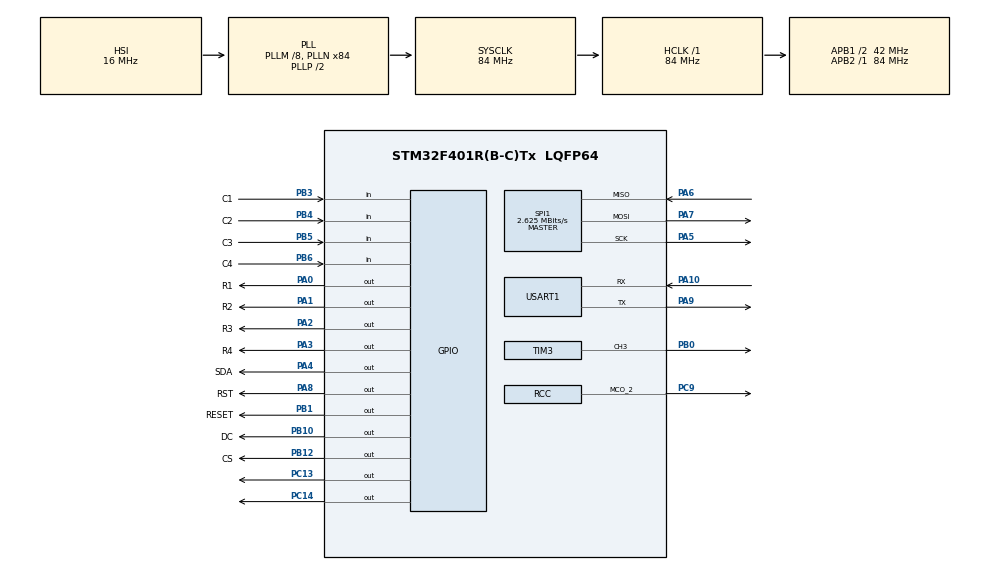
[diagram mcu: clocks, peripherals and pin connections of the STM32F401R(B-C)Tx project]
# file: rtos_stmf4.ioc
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FREERTOS.Tasks01=defaultTask,0,128,StartDefaultTask,Default,NULL,Dynamic,NULL,NULL
Mcu.Family=STM32F4
Mcu.Name=STM32F401R(B-C)Tx
Mcu.Package=LQFP64
NVIC.PriorityGroup=NVIC_PRIORITYGROUP_4
NVIC.TIM4_IRQn=true\:15\:0\:false\:false\:true\:false\:false\:true\:true
NVIC.TimeBase=TIM4_IRQn
NVIC.TimeBaseIP=TIM4
PA0-WKUP.GPIO_Label=R1
PA0-WKUP.Signal=GPIO_Output
PA1.GPIO_Label=R2
PA1.Signal=GPIO_Output
PA10.Mode=Asynchronous
PA10.Signal=USART1_RX
PA13.Mode=Serial_Wire
PA13.Signal=SYS_JTMS-SWDIO
PA14.Mode=Serial_Wire
PA14.Signal=SYS_JTCK-SWCLK
PA2.GPIO_Label=R3
PA2.Signal=GPIO_Output
PA3.GPIO_Label=R4
PA3.Signal=GPIO_Output
PA4.GPIO_Label=SDA
PA4.Signal=GPIO_Output
PA5.Mode=Full_Duplex_Master
PA5.Signal=SPI1_SCK
PA6.Mode=Full_Duplex_Master
PA6.Signal=SPI1_MISO
PA7.Mode=Full_Duplex_Master
PA7.Signal=SPI1_MOSI
PA8.GPIO_Label=RST
PA8.GPIO_PuPd=GPIO_PULLUP
PA8.Signal=GPIO_Output
PA9.Mode=Asynchronous
PA9.Signal=USART1_TX
PB0.Signal=S_TIM3_CH3
PB1.GPIO_Label=RESET
PB1.Signal=GPIO_Output
PB10.GPIO_Label=DC
PB10.Signal=GPIO_Output
PB12.GPIO_Label=CS
PB12.GPIO_PuPd=GPIO_PULLUP
PB12.Signal=GPIO_Output
PB3.GPIO_Label=C1
PB3.GPIO_PuPd=GPIO_PULLUP
PB3.Signal=GPIO_Input
PB4.GPIO_Label=C2
PB4.GPIO_PuPd=GPIO_PULLUP
PB4.Signal=GPIO_Input
PB5.GPIO_Label=C3
PB5.GPIO_PuPd=GPIO_PULLUP
PB5.Signal=GPIO_Input
PB6.GPIO_Label=C4
PB6.GPIO_PuPd=GPIO_PULLUP
PB6.Signal=GPIO_Input
PC13-ANTI_TAMP.Signal=GPIO_Output
PC14-OSC32_IN.Signal=GPIO_Output
PC9.Mode=Clock-out-2
PC9.Signal=RCC_MCO_2
PH0\ -\ OSC_IN.Mode=HSE-External-Oscillator
PH0\ -\ OSC_IN.Signal=RCC_OSC_IN
PH1\ -\ OSC_OUT.Mode=HSE-External-Oscillator
PH1\ -\ OSC_OUT.Signal=RCC_OSC_OUT
ProjectManager.HeapSize=0x200
ProjectManager.StackSize=0x400
ProjectManager.TargetToolchain=STM32CubeIDE
RCC.48MHZClocksFreq_Value=42000000
RCC.AHBFreq_Value=84000000
RCC.APB1CLKDivider=RCC_HCLK_DIV2
RCC.APB1Freq_Value=42000000
RCC.APB1TimFreq_Value=84000000
RCC.APB2Freq_Value=84000000
RCC.APB2TimFreq_Value=84000000
RCC.CortexFreq_Value=84000000
RCC.HCLKFreq_Value=84000000
RCC.HSE_VALUE=25000000
RCC.HSI_VALUE=16000000
RCC.LSE_VALUE=32768
RCC.PLLM=8
RCC.PLLN=84
RCC.SYSCLKFreq_VALUE=84000000
RCC.SYSCLKSource=RCC_SYSCLKSOURCE_PLLCLK
RCC.VCOOutputFreq_Value=168000000
SH.S_TIM3_CH3.0=TIM3_CH3,PWM Generation3 CH3
SPI1.BaudRatePrescaler=SPI_BAUDRATEPRESCALER_32
SPI1.CalculateBaudRate=2.625 MBits/s
SPI1.Direction=SPI_DIRECTION_2LINES
SPI1.Mode=SPI_MODE_MASTER
SPI1.VirtualType=VM_MASTER
TIM3.Channel-PWM\ Generation3\ CH3=TIM_CHANNEL_3
TIM3.Period=19999
TIM3.Prescaler=83
USART1.VirtualMode=VM_ASYNC
VP_FREERTOS_VS_CMSIS_V1.Mode=CMSIS_V1
VP_SYS_VS_tim4.Mode=TIM4
VP_TIM3_VS_ClockSourceINT.Mode=Internal
board=custom

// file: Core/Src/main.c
/* USER CODE BEGIN Header */
/**
 ******************************************************************************
 * @file           : main.c
 * @brief          : Main program body
 ******************************************************************************
 * @attention
 *
 * Copyright (c) 2026 STMicroelectronics.
 * All rights reserved.
 *
 * This software is licensed under terms that can be found in the LICENSE file
 * in the root directory of this software component.
 * If no LICENSE file comes with this software, it is provided AS-IS.
 *
 ******************************************************************************
 */
/* USER CODE END Header */
#include "main.h"
#include "cmsis_os.h"

/* USER CODE BEGIN Includes */
#include "rc522.h"
#include "tft_ili9341.h"
#include "font.h"
#include "stdio.h"
#include "string.h"
/* USER CODE END Includes */

/* USER CODE BEGIN PTD */
#define FLASH_USER_START_ADDR  0x08020000
/* USER CODE END PTD */

SPI_HandleTypeDef hspi1;

TIM_HandleTypeDef htim3;

UART_HandleTypeDef huart1;

osThreadId defaultTaskHandle;
/* USER CODE BEGIN PV */
uint8_t uid[5];
uint8_t status;

#define MAX_CARDS 10
uint8_t card_list[MAX_CARDS][4];
uint8_t card_count = 0;

char buffer[50];

char password[5] = "1234";
char input_pass[5];

typedef enum {
	ACTION_NONE = 0,
	ACTION_SCAN,
	ACTION_PASSWORD,
	ACTION_ADD,
	ACTION_DELETE,
	ACTION_CHANGE_PASS
} Action_t;

typedef struct MenuItem {
	char *name;
	struct MenuItem *parent;
	struct MenuItem *child;
	struct MenuItem *next;
	Action_t action;
} MenuItem;

MenuItem *current_menu;
MenuItem *selected_item;

// ROOT
MenuItem menu_root = { "MỞ KHÓA CỬA RFID", NULL, NULL, NULL, ACTION_NONE };

// LEVEL 1
MenuItem menu_scan = { "QUẸT THẺ", &menu_root, NULL, NULL, ACTION_SCAN };
MenuItem menu_pass =
		{ "NHẬP MẬT KHẨU", &menu_root, NULL, NULL, ACTION_PASSWORD };
MenuItem menu_setting = { "CÀI ĐẶT", &menu_root, NULL, NULL, ACTION_NONE };

// LEVEL 2 (SETTING)
MenuItem menu_add = { "THÊM THẺ", &menu_setting, NULL, NULL, ACTION_ADD };
MenuItem menu_delete = { "XÓA THẺ", &menu_setting, NULL, NULL, ACTION_DELETE };
MenuItem menu_change = { "ĐỔI MẬT KHẨU", &menu_setting, NULL, NULL,
		ACTION_CHANGE_PASS };

char keypad_map[4][4] = { { '1', '4', '7', '*' }, { '2', '5', '8', '0' }, { '3',
		'6', '9', '#' }, { 'A', 'B', 'C', 'D' } };

uint8_t door_open = 0;
uint32_t door_time = 0;

Action_t current_action = ACTION_NONE;

typedef struct {
	uint8_t count;
	uint8_t cards[MAX_CARDS][4];
	char password[5];
} FlashData;

FlashData flash_data;

osMutexId spiMutex;

/* USER CODE END PV */

void SystemClock_Config(void);
static void MX_GPIO_Init(void);
static void MX_SPI1_Init(void);
static void MX_TIM3_Init(void);
static void MX_USART1_UART_Init(void);
void StartDefaultTask(void const * argument);

/* USER CODE BEGIN PFP */
void TFT_DrawMenu(void);
void Keypad_Task(void const *argument);
osThreadId keypadTaskHandle;
void RFID_Task(void const *argument);
uint8_t CheckPassword(void);

void Send_Event(char *event, char *method, uint8_t *uid);

void Flash_Write(void);
void Flash_Read(void);

void Send_All_Cards(void);

osThreadId rfidTaskHandle;
/* USER CODE END PFP */

/* USER CODE BEGIN 0 */
char Keypad_Scan(void) {
	uint16_t row_pins[4] = { R1_Pin, R2_Pin, R3_Pin, R4_Pin };
	uint16_t col_pins[4] = { C1_Pin, C2_Pin, C3_Pin, C4_Pin };

	for (int i = 0; i < 4; i++) {
		// set all row HIGH
		HAL_GPIO_WritePin(GPIOA, R1_Pin | R2_Pin | R3_Pin | R4_Pin,
				GPIO_PIN_SET);

		// kéo từng row xuống LOW
		HAL_GPIO_WritePin(GPIOA, row_pins[i], GPIO_PIN_RESET);

		for (int j = 0; j < 4; j++) {
			if (HAL_GPIO_ReadPin(GPIOB, col_pins[j]) == GPIO_PIN_RESET) {
				return keypad_map[i][j];
			}
		}
	}

	return 0;
}

char Keypad_GetKey(void) {
	char key = Keypad_Scan();

	if (key) {
		osDelay(150);
		while (Keypad_Scan())
			;
		return key;
	}

	return 0;
}

uint8_t compare_uid(uint8_t *a, uint8_t *b) {
	for (int i = 0; i < 4; i++) {
		if (a[i] != b[i])
			return 0;
	}
	return 1;
}

int find_card(uint8_t *uid) {
	for (int i = 0; i < card_count; i++) {
		if (compare_uid(uid, card_list[i])) {
			return i;
		}
	}
	return -1;
}

void add_card(uint8_t *uid) {
	if (card_count >= MAX_CARDS)
		return;

	if (find_card(uid) == -1) {
		memcpy(card_list[card_count], uid, 4);
		card_count++;
	}
}

void delete_card(uint8_t *uid) {
	int index = find_card(uid);

	if (index == -1)
		return;

	for (int i = index; i < card_count - 1; i++) {
		memcpy(card_list[i], card_list[i + 1], 4);
	}

	card_count--;
}

void Servo_SetAngle(uint8_t angle) {
	uint16_t pulse = 500 + (angle * 2000) / 180;
	__HAL_TIM_SET_COMPARE(&htim3, TIM_CHANNEL_3, pulse);
}

/* USER CODE END 0 */

int main(void)
{

  /* MCU Configuration--------------------------------------------------------*/

  /* Reset of all peripherals, Initializes the Flash interface and the Systick. */
  HAL_Init();

  /* Configure the system clock */
  SystemClock_Config();

  /* Initialize all configured peripherals */
  MX_GPIO_Init();
  MX_SPI1_Init();
  MX_TIM3_Init();
  MX_USART1_UART_Init();
  /* USER CODE BEGIN 2 */
	menu_root.child = &menu_scan;

	menu_scan.next = &menu_pass;
	menu_pass.next = &menu_setting;

	menu_setting.child = &menu_add;
	menu_add.next = &menu_delete;
	menu_delete.next = &menu_change;

	// default
	current_menu = &menu_root;
	selected_item = menu_root.child;
	HAL_TIM_PWM_Start(&htim3, TIM_CHANNEL_3);
	RC522_Init();
	HAL_Delay(100);

	TFT_Init(&hspi1);
	TFT_FillScreen(BLACK);
	Flash_Read();
	HAL_Delay(500);   // (để ESP kịp boot)
	Send_All_Cards();

	TFT_DrawMenu();

  /* USER CODE END 2 */

  /* USER CODE BEGIN RTOS_MUTEX */
	/* add mutexes, ... */
	osMutexDef(spiMutex);
	spiMutex = osMutexCreate(osMutex(spiMutex));
  /* USER CODE END RTOS_MUTEX */

  /* Create the thread(s) */
  /* definition and creation of defaultTask */
  osThreadDef(defaultTask, StartDefaultTask, osPriorityNormal, 0, 128);
  defaultTaskHandle = osThreadCreate(osThread(defaultTask), NULL);

  /* USER CODE BEGIN RTOS_THREADS */
	osThreadDef(keypadTask, Keypad_Task, osPriorityLow, 0, 256);
	keypadTaskHandle = osThreadCreate(osThread(keypadTask), NULL);

	osThreadDef(rfidTask, RFID_Task, osPriorityNormal, 0, 256);
	rfidTaskHandle = osThreadCreate(osThread(rfidTask), NULL);
	/* add threads, ... */
  /* USER CODE END RTOS_THREADS */

  /* Start scheduler */
  osKernelStart();

  /* We should never get here as control is now taken by the scheduler */

  /* Infinite loop */
	while (1) {

	}
}

void SystemClock_Config(void)
{
  RCC_OscInitTypeDef RCC_OscInitStruct = {0};
  RCC_ClkInitTypeDef RCC_ClkInitStruct = {0};

  /** Configure the main internal regulator output voltage
  */
  __HAL_RCC_PWR_CLK_ENABLE();
  __HAL_PWR_VOLTAGESCALING_CONFIG(PWR_REGULATOR_VOLTAGE_SCALE2);

  /** Initializes the RCC Oscillators according to the specified parameters
  * in the RCC_OscInitTypeDef structure.
  */
  RCC_OscInitStruct.OscillatorType = RCC_OSCILLATORTYPE_HSI;
  RCC_OscInitStruct.HSIState = RCC_HSI_ON;
  RCC_OscInitStruct.HSICalibrationValue = RCC_HSICALIBRATION_DEFAULT;
  RCC_OscInitStruct.PLL.PLLState = RCC_PLL_ON;
  RCC_OscInitStruct.PLL.PLLSource = RCC_PLLSOURCE_HSI;
  RCC_OscInitStruct.PLL.PLLM = 8;
  RCC_OscInitStruct.PLL.PLLN = 84;
  RCC_OscInitStruct.PLL.PLLP = RCC_PLLP_DIV2;
  RCC_OscInitStruct.PLL.PLLQ = 4;
  if (HAL_RCC_OscConfig(&RCC_OscInitStruct) != HAL_OK)
  {
    Error_Handler();
  }

  /** Initializes the CPU, AHB and APB buses clocks
  */
  RCC_ClkInitStruct.ClockType = RCC_CLOCKTYPE_HCLK|RCC_CLOCKTYPE_SYSCLK
                              |RCC_CLOCKTYPE_PCLK1|RCC_CLOCKTYPE_PCLK2;
  RCC_ClkInitStruct.SYSCLKSource = RCC_SYSCLKSOURCE_PLLCLK;
  RCC_ClkInitStruct.AHBCLKDivider = RCC_SYSCLK_DIV1;
  RCC_ClkInitStruct.APB1CLKDivider = RCC_HCLK_DIV2;
  RCC_ClkInitStruct.APB2CLKDivider = RCC_HCLK_DIV1;

  if (HAL_RCC_ClockConfig(&RCC_ClkInitStruct, FLASH_LATENCY_2) != HAL_OK)
  {
    Error_Handler();
  }
  HAL_RCC_MCOConfig(RCC_MCO2, RCC_MCO2SOURCE_SYSCLK, RCC_MCODIV_1);
}

static void MX_SPI1_Init(void)
{

  /* SPI1 parameter configuration*/
  hspi1.Instance = SPI1;
  hspi1.Init.Mode = SPI_MODE_MASTER;
  hspi1.Init.Direction = SPI_DIRECTION_2LINES;
  hspi1.Init.DataSize = SPI_DATASIZE_8BIT;
  hspi1.Init.CLKPolarity = SPI_POLARITY_LOW;
  hspi1.Init.CLKPhase = SPI_PHASE_1EDGE;
  hspi1.Init.NSS = SPI_NSS_SOFT;
  hspi1.Init.BaudRatePrescaler = SPI_BAUDRATEPRESCALER_32;
  hspi1.Init.FirstBit = SPI_FIRSTBIT_MSB;
  hspi1.Init.TIMode = SPI_TIMODE_DISABLE;
  hspi1.Init.CRCCalculation = SPI_CRCCALCULATION_DISABLE;
  hspi1.Init.CRCPolynomial = 10;
  if (HAL_SPI_Init(&hspi1) != HAL_OK)
  {
    Error_Handler();
  }

}

static void MX_TIM3_Init(void)
{

  TIM_ClockConfigTypeDef sClockSourceConfig = {0};
  TIM_MasterConfigTypeDef sMasterConfig = {0};
  TIM_OC_InitTypeDef sConfigOC = {0};

  htim3.Instance = TIM3;
  htim3.Init.Prescaler = 83;
  htim3.Init.CounterMode = TIM_COUNTERMODE_UP;
  htim3.Init.Period = 19999;
  htim3.Init.ClockDivision = TIM_CLOCKDIVISION_DIV1;
  htim3.Init.AutoReloadPreload = TIM_AUTORELOAD_PRELOAD_DISABLE;
  if (HAL_TIM_Base_Init(&htim3) != HAL_OK)
  {
    Error_Handler();
  }
  sClockSourceConfig.ClockSource = TIM_CLOCKSOURCE_INTERNAL;
  if (HAL_TIM_ConfigClockSource(&htim3, &sClockSourceConfig) != HAL_OK)
  {
    Error_Handler();
  }
  if (HAL_TIM_PWM_Init(&htim3) != HAL_OK)
  {
    Error_Handler();
  }
  sMasterConfig.MasterOutputTrigger = TIM_TRGO_RESET;
  sMasterConfig.MasterSlaveMode = TIM_MASTERSLAVEMODE_DISABLE;
  if (HAL_TIMEx_MasterConfigSynchronization(&htim3, &sMasterConfig) != HAL_OK)
  {
    Error_Handler();
  }
  sConfigOC.OCMode = TIM_OCMODE_PWM1;
  sConfigOC.Pulse = 0;
  sConfigOC.OCPolarity = TIM_OCPOLARITY_HIGH;
  sConfigOC.OCFastMode = TIM_OCFAST_DISABLE;
  if (HAL_TIM_PWM_ConfigChannel(&htim3, &sConfigOC, TIM_CHANNEL_3) != HAL_OK)
  {
    Error_Handler();
  }
  HAL_TIM_MspPostInit(&htim3);

}

static void MX_USART1_UART_Init(void)
{

  huart1.Instance = USART1;
  huart1.Init.BaudRate = 115200;
  huart1.Init.WordLength = UART_WORDLENGTH_8B;
  huart1.Init.StopBits = UART_STOPBITS_1;
  huart1.Init.Parity = UART_PARITY_NONE;
  huart1.Init.Mode = UART_MODE_TX_RX;
  huart1.Init.HwFlowCtl = UART_HWCONTROL_NONE;
  huart1.Init.OverSampling = UART_OVERSAMPLING_16;
  if (HAL_UART_Init(&huart1) != HAL_OK)
  {
    Error_Handler();
  }

}

static void MX_GPIO_Init(void)
{
  GPIO_InitTypeDef GPIO_InitStruct = {0};

  /* GPIO Ports Clock Enable */
  __HAL_RCC_GPIOC_CLK_ENABLE();
  __HAL_RCC_GPIOH_CLK_ENABLE();
  __HAL_RCC_GPIOA_CLK_ENABLE();
  __HAL_RCC_GPIOB_CLK_ENABLE();

  /*Configure GPIO pin Output Level */
  HAL_GPIO_WritePin(GPIOC, GPIO_PIN_13|GPIO_PIN_14, GPIO_PIN_RESET);

  /*Configure GPIO pin Output Level */
  HAL_GPIO_WritePin(GPIOA, R1_Pin|R2_Pin|R3_Pin|R4_Pin
                          |SDA_Pin|RST_Pin, GPIO_PIN_RESET);

  /*Configure GPIO pin Output Level */
  HAL_GPIO_WritePin(GPIOB, RESET_Pin|DC_Pin|CS_Pin, GPIO_PIN_RESET);

  /*Configure GPIO pins : PC13 PC14 */
  GPIO_InitStruct.Pin = GPIO_PIN_13|GPIO_PIN_14;
  GPIO_InitStruct.Mode = GPIO_MODE_OUTPUT_PP;
  GPIO_InitStruct.Pull = GPIO_NOPULL;
  GPIO_InitStruct.Speed = GPIO_SPEED_FREQ_LOW;
  HAL_GPIO_Init(GPIOC, &GPIO_InitStruct);

  /*Configure GPIO pins : R1_Pin R2_Pin R3_Pin R4_Pin
                           SDA_Pin */
  GPIO_InitStruct.Pin = R1_Pin|R2_Pin|R3_Pin|R4_Pin
                          |SDA_Pin;
  GPIO_InitStruct.Mode = GPIO_MODE_OUTPUT_PP;
  GPIO_InitStruct.Pull = GPIO_NOPULL;
  GPIO_InitStruct.Speed = GPIO_SPEED_FREQ_LOW;
  HAL_GPIO_Init(GPIOA, &GPIO_InitStruct);

  /*Configure GPIO pins : RESET_Pin DC_Pin */
  GPIO_InitStruct.Pin = RESET_Pin|DC_Pin;
  GPIO_InitStruct.Mode = GPIO_MODE_OUTPUT_PP;
  GPIO_InitStruct.Pull = GPIO_NOPULL;
  GPIO_InitStruct.Speed = GPIO_SPEED_FREQ_LOW;
  HAL_GPIO_Init(GPIOB, &GPIO_InitStruct);

  /*Configure GPIO pin : CS_Pin */
  GPIO_InitStruct.Pin = CS_Pin;
  GPIO_InitStruct.Mode = GPIO_MODE_OUTPUT_PP;
  GPIO_InitStruct.Pull = GPIO_PULLUP;
  GPIO_InitStruct.Speed = GPIO_SPEED_FREQ_LOW;
  HAL_GPIO_Init(CS_GPIO_Port, &GPIO_InitStruct);

  /*Configure GPIO pin : PC9 */
  GPIO_InitStruct.Pin = GPIO_PIN_9;
  GPIO_InitStruct.Mode = GPIO_MODE_AF_PP;
  GPIO_InitStruct.Pull = GPIO_NOPULL;
  GPIO_InitStruct.Speed = GPIO_SPEED_FREQ_LOW;
  GPIO_InitStruct.Alternate = GPIO_AF0_MCO;
  HAL_GPIO_Init(GPIOC, &GPIO_InitStruct);

  /*Configure GPIO pin : RST_Pin */
  GPIO_InitStruct.Pin = RST_Pin;
  GPIO_InitStruct.Mode = GPIO_MODE_OUTPUT_PP;
  GPIO_InitStruct.Pull = GPIO_PULLUP;
  GPIO_InitStruct.Speed = GPIO_SPEED_FREQ_LOW;
  HAL_GPIO_Init(RST_GPIO_Port, &GPIO_InitStruct);

  /*Configure GPIO pins : C1_Pin C2_Pin C3_Pin C4_Pin */
  GPIO_InitStruct.Pin = C1_Pin|C2_Pin|C3_Pin|C4_Pin;
  GPIO_InitStruct.Mode = GPIO_MODE_INPUT;
  GPIO_InitStruct.Pull = GPIO_PULLUP;
  HAL_GPIO_Init(GPIOB, &GPIO_InitStruct);

}

/* USER CODE BEGIN 4 */
void Flash_Write(void) {
	HAL_FLASH_Unlock();

	FLASH_EraseInitTypeDef EraseInitStruct;
	uint32_t SectorError;

	EraseInitStruct.TypeErase = FLASH_TYPEERASE_SECTORS;
	EraseInitStruct.Sector = FLASH_SECTOR_5;
	EraseInitStruct.NbSectors = 1;
	EraseInitStruct.VoltageRange = FLASH_VOLTAGE_RANGE_3;

	HAL_FLASHEx_Erase(&EraseInitStruct, &SectorError);

	// copy dữ liệu vào struct
	flash_data.count = card_count;
	memcpy(flash_data.cards, card_list, sizeof(card_list));
	memcpy(flash_data.password, password, 5);

	uint32_t addr = FLASH_USER_START_ADDR;
	uint8_t *ptr = (uint8_t*) &flash_data;

	for (uint32_t i = 0; i < sizeof(FlashData); i++) {
		HAL_FLASH_Program(FLASH_TYPEPROGRAM_BYTE, addr++, ptr[i]);
	}

	HAL_FLASH_Lock();
}

void Flash_Read(void) {
	uint32_t addr = FLASH_USER_START_ADDR;
	uint8_t *ptr = (uint8_t*) &flash_data;

	for (uint32_t i = 0; i < sizeof(FlashData); i++) {
		ptr[i] = *(uint8_t*) addr++;
	}

	// ❗ check dữ liệu hợp lệ
	if (flash_data.count > MAX_CARDS || flash_data.password[0] == 0xFF) {
		// dữ liệu chưa từng ghi

		card_count = 0;
		strcpy(password, "1234");

		Flash_Write();
		return;
	}

	// copy ra biến dùng
	card_count = flash_data.count;
	memcpy(card_list, flash_data.cards, sizeof(card_list));
	memcpy(password, flash_data.password, 5);
}

void Menu_Next(void) {
	if (selected_item->next)
		selected_item = selected_item->next;
}

void Menu_Prev(void) {
	MenuItem *tmp = current_menu->child;

	if (tmp == selected_item)
		return;

	while (tmp->next != selected_item)
		tmp = tmp->next;

	selected_item = tmp;
}

void Menu_Enter(void) {
	if (selected_item->child) {
		current_menu = selected_item;
		selected_item = current_menu->child;
	}
}

void Menu_Back(void) {
	if (current_menu->parent) {
		selected_item = current_menu;
		current_menu = current_menu->parent;
	}
}

Action_t GetAction(void) {
	if (selected_item)
		return selected_item->action;

	return ACTION_NONE;
}

void TFT_DrawMenu(void) {
	TFT_DrawString(10, 10, current_menu->name, &Font_11x16_times, CYAN, BLACK);

	MenuItem *item = current_menu->child;
	int y = 40;

	while (item) {
		if (item == selected_item) {
			TFT_DrawString(10, y, ">", &Font_11x16_times, GREEN, BLACK);
			TFT_DrawString(30, y, item->name, &Font_11x16_times, GREEN, BLACK);
		} else {
			TFT_DrawString(10, y, " ", &Font_11x16_times, BLACK, BLACK);
			TFT_DrawString(30, y, item->name, &Font_11x16_times, WHITE, BLACK);
		}
		item = item->next;
		y += 30;
	}

	// Chỉ hiện số thẻ khi trong cài đặt
	if (current_menu == &menu_setting) {
		char buf[40];
		sprintf(buf, "Số thẻ đã lưu: %d", card_count);
		TFT_DrawString(10, 200, buf, &Font_11x16_times, YELLOW, BLACK);
	}
}

void Keypad_Task(void const *argument) {
	char key;

	while (1) {
		key = Keypad_GetKey();

		if (key) {

			// ===== NAVIGATION =====
			if (key == 'D')
				Menu_Next();
			else if (key == 'C')
				Menu_Prev();

			// ===== ENTER =====
			else if (key == 'A') {

				current_action = GetAction();
				Action_t action = current_action;

				// ===== QUẸT THẺ =====
				if (action == ACTION_SCAN) {
					current_action = ACTION_SCAN;

					osMutexWait(spiMutex, osWaitForever);
					TFT_FillScreen(BLACK);
					TFT_DrawMenu();
					TFT_DrawString(10, 170, "VUI LÒNG QUẸT THẺ!", &Font_11x16_times, CYAN, BLACK);
					osMutexRelease(spiMutex);

					goto skip_draw;
				}

				// ===== VÀO CÀI ĐẶT (cần pass) =====
				else if (selected_item == &menu_setting) {

					osMutexWait(spiMutex, osWaitForever);
					TFT_FillScreen(BLACK);
					TFT_DrawString(10, 50, "NHẬP MẬT KHẨU:", &Font_11x16_times, WHITE, BLACK);
					osMutexRelease(spiMutex);

					if (CheckPassword()) {
						Menu_Enter();
					} else {
						osMutexWait(spiMutex, osWaitForever);
						TFT_DrawString(10, 100, "SAI MẬT KHẨU!", &Font_11x16_times, RED, BLACK);
						osMutexRelease(spiMutex);
						osDelay(1000);
					}
				}

				// ===== CHANGE PASSWORD =====
				else if (action == ACTION_CHANGE_PASS) {

					osMutexWait(spiMutex, osWaitForever);
					TFT_FillScreen(BLACK);
					TFT_DrawString(10, 50, "MẬT KHẨU CŨ:", &Font_11x16_times, WHITE, BLACK);
					osMutexRelease(spiMutex);

					if (CheckPassword()) {

						osMutexWait(spiMutex, osWaitForever);
						TFT_FillScreen(BLACK);
						TFT_DrawString(10, 50, "NHẬP MẬT KHẨU MỚI:", &Font_11x16_times, WHITE, BLACK);
						osMutexRelease(spiMutex);

						int idx = 0;
						char k;

						while (idx < 4) {
							k = Keypad_GetKey();
							if (k >= '0' && k <= '9') {
								password[idx++] = k;

								osMutexWait(spiMutex, osWaitForever);
								TFT_DrawString(10 + idx * 10, 120, "*", &Font_11x16_times, WHITE, BLACK);
								osMutexRelease(spiMutex);
							}
						}
						password[4] = '\0';
						Flash_Write();

						osMutexWait(spiMutex, osWaitForever);
						TFT_DrawString(10, 160, "ĐỔI MẬT KHẨU HOÀN TẤT!!!", &Font_11x16_times, GREEN, BLACK);
						osMutexRelease(spiMutex);
						Send_Event("PASSWORD_CHANGED", "PASSWORD", NULL);
						osDelay(1000);

					} else {
						osMutexWait(spiMutex, osWaitForever);
						TFT_DrawString(10, 100, "SAI MẬT KHẨU!", &Font_11x16_times, RED, BLACK);
						osMutexRelease(spiMutex);
						osDelay(1000);
					}
				}

				// ===== MỞ BẰNG MẬT KHẨU =====
				else if (action == ACTION_PASSWORD) {

					osMutexWait(spiMutex, osWaitForever);
					TFT_FillScreen(BLACK);
					TFT_DrawString(10, 50, "NHẬP MẬT KHẨU:", &Font_11x16_times, WHITE, BLACK);
					osMutexRelease(spiMutex);

					if (CheckPassword()) {

						osMutexWait(spiMutex, osWaitForever);
						TFT_DrawString(10, 100, "CỬA MỞ!", &Font_11x16_times, GREEN, BLACK);
						osMutexRelease(spiMutex);
						osDelay(1000);

						Send_Event("ACCESS_GRANTED", "PASSWORD", NULL);
						Servo_SetAngle(90);
						door_open = 1;
						door_time = osKernelSysTick();

						HAL_GPIO_WritePin(GPIOC, GPIO_PIN_14, GPIO_PIN_SET);
					} else {

						osMutexWait(spiMutex, osWaitForever);
						TFT_DrawString(10, 100, "SAI MẬT KHẨU!", &Font_11x16_times, RED, BLACK);
						Send_Event("ACCESS_DENIED", "PASSWORD", NULL);
						osMutexRelease(spiMutex);
						osDelay(1000);
					}
				}

				// ===== THÊM THẺ =====
				else if (action == ACTION_ADD) {
					Menu_Enter();

					osMutexWait(spiMutex, osWaitForever);
					TFT_FillScreen(BLACK);
					TFT_DrawMenu();
					TFT_DrawString(10, 170, "CHỜ THÊM THẺ!", &Font_11x16_times, CYAN, BLACK);
					osMutexRelease(spiMutex);

					goto skip_draw;
				}

				// ===== XÓA THẺ =====
				else if (action == ACTION_DELETE) {
					Menu_Enter();

					osMutexWait(spiMutex, osWaitForever);
					TFT_FillScreen(BLACK);
					TFT_DrawMenu();
					TFT_DrawString(10, 170, "CHỜ XÓA THẺ!", &Font_11x16_times, RED, BLACK);
					osMutexRelease(spiMutex);

					goto skip_draw;
				}

				// ===== ENTER BÌNH THƯỜNG =====
				else {
					Menu_Enter();
				}
			}

			// ===== BACK =====
			else if (key == 'B') {
				Menu_Back();
				current_action = ACTION_NONE;
			}

			// ===== VẼ MENU =====
			osMutexWait(spiMutex, osWaitForever);
			TFT_FillScreen(BLACK);
			TFT_DrawMenu();
			osMutexRelease(spiMutex);

			skip_draw:;
		}

		// ===== ĐÓNG CỬA =====
		if (door_open && (osKernelSysTick() - door_time > 5000)) {
			Servo_SetAngle(0);
			door_open = 0;
			HAL_GPIO_WritePin(GPIOC, GPIO_PIN_14, GPIO_PIN_RESET);

			// Xóa thông báo CỬA MỞ + UID
			osMutexWait(spiMutex, osWaitForever);
			TFT_FillScreen(BLACK);
			TFT_DrawMenu();
			osMutexRelease(spiMutex);
		}

		osDelay(50);
	}
}
uint8_t CheckPassword(void) {
	int idx = 0;
	char key;

	while (idx < 4) {
		key = Keypad_GetKey();
		if (key >= '0' && key <= '9') {
			input_pass[idx++] = key;

			osMutexWait(spiMutex, osWaitForever);
			TFT_DrawString(10 + idx * 10, 150, "*", &Font_11x16_times, WHITE,
			BLACK);
			osMutexRelease(spiMutex);
		}
	}

	input_pass[4] = '\0';

	if (strcmp(input_pass, password) == 0)
		return 1;

	return 0;
}

void RFID_Task(void const *argument) {
	for (;;) {
		uint8_t local_uid[5];
		Action_t action = current_action;

		// ❌ không ở SCAN/ADD/DELETE thì bỏ qua
		if (action != ACTION_SCAN && action != ACTION_ADD
				&& action != ACTION_DELETE) {
			osDelay(100);
			continue;
		}

		// đọc thẻ
		osMutexWait(spiMutex, osWaitForever);
		uint8_t result = RC522_Check(local_uid);
		osMutexRelease(spiMutex);

		if (result == MI_OK) {

			int index = find_card(local_uid);

			char buf_uid[30];
			sprintf(buf_uid, "%02X %02X %02X %02X",
					local_uid[0], local_uid[1], local_uid[2], local_uid[3]);

			// clear vùng thông báo
			osMutexWait(spiMutex, osWaitForever);
			TFT_DrawRect(0, 170, 240, 60, BLACK);
			osMutexRelease(spiMutex);

			// ===== ADD CARD =====
			if (action == ACTION_ADD) {
				if (index == -1) {
					add_card(local_uid);
					Flash_Write();

					osMutexWait(spiMutex, osWaitForever);
					TFT_DrawString(10, 170, "ĐÃ THÊM THẺ", &Font_11x16_times, GREEN, BLACK);
					TFT_DrawString(10, 200, buf_uid, &Font_11x16_times, WHITE, BLACK);
					osDelay(1000);
					Send_Event("CARD_ADDED", "RFID", local_uid);

			        TFT_DrawRect(0, 170, 240, 60, BLACK);
			        TFT_DrawString(10, 170, "CHỜ THÊM THẺ!", &Font_11x16_times, CYAN, BLACK);
			        osMutexRelease(spiMutex);

				} else {
					osMutexWait(spiMutex, osWaitForever);
					TFT_DrawString(10, 170, "THẺ ĐÃ THÊM RỒI!", &Font_11x16_times, YELLOW, BLACK);
					TFT_DrawString(10, 200, buf_uid, &Font_11x16_times, WHITE, BLACK);
					osDelay(1000);

			        TFT_DrawRect(0, 170, 240, 60, BLACK);
			        TFT_DrawString(10, 170, "CHỜ THÊM THẺ!", &Font_11x16_times, CYAN, BLACK);
			        osMutexRelease(spiMutex);
				}
			}

			// ===== DELETE CARD =====
			else if (action == ACTION_DELETE) {
				if (index != -1) {
					delete_card(local_uid);
					Flash_Write();

					osMutexWait(spiMutex, osWaitForever);
					TFT_DrawString(10, 170, "ĐÃ XÓA THẺ!", &Font_11x16_times, RED, BLACK);
					TFT_DrawString(10, 200, buf_uid, &Font_11x16_times, WHITE, BLACK);
					Send_Event("CARD_DELETED", "RFID", local_uid);
					osDelay(1000);

			        TFT_DrawRect(0, 170, 240, 60, BLACK);
			        TFT_DrawString(10, 170, "CHỜ XÓA THẺ!", &Font_11x16_times, RED, BLACK);
			        osMutexRelease(spiMutex);

				} else {
					osMutexWait(spiMutex, osWaitForever);
					TFT_DrawString(10, 170, "THẺ CHƯA THÊM!", &Font_11x16_times, YELLOW, BLACK);
					TFT_DrawString(10, 200, buf_uid, &Font_11x16_times, WHITE, BLACK);
					osDelay(1000);

			        TFT_DrawRect(0, 170, 240, 60, BLACK);
			        TFT_DrawString(10, 170, "CHỜ XÓA THẺ!", &Font_11x16_times, RED, BLACK);
			        osMutexRelease(spiMutex);
				}
			}

			// ===== SCAN =====
			else if (action == ACTION_SCAN) {
				if (index != -1) {

					osMutexWait(spiMutex, osWaitForever);

					TFT_DrawRect(0, 170, 240, 60, BLACK);
					TFT_DrawString(10, 170, "THẺ HỢP LỆ, CỬA MỞ!", &Font_11x16_times, GREEN, BLACK);
					TFT_DrawString(10, 200, buf_uid, &Font_11x16_times, WHITE, BLACK);
					Send_Event("ACCESS_GRANTED", "RFID", local_uid);
					osDelay(1000);
					osMutexRelease(spiMutex);

					Servo_SetAngle(90);
					door_open = 1;
					door_time = osKernelSysTick();

					HAL_GPIO_WritePin(GPIOC, GPIO_PIN_14, GPIO_PIN_SET);
				} else {
					osMutexWait(spiMutex, osWaitForever);
					TFT_DrawRect(0, 170, 240, 60, BLACK);
					TFT_DrawString(10, 170, "THẺ KHÔNG HỢP LỆ!", &Font_11x16_times, RED, BLACK);
					TFT_DrawString(10, 200, buf_uid, &Font_11x16_times, WHITE, BLACK);
					Send_Event("ACCESS_DENIED", "RFID", local_uid);
					osDelay(1000);

				    TFT_DrawRect(0, 170, 240, 60, BLACK);
				    TFT_DrawString(10, 170, "VUI LÒNG QUẸT THẺ!", &Font_11x16_times, CYAN, BLACK);
				    osMutexRelease(spiMutex);
				}
			}
		}

		if (door_open && (osKernelSysTick() - door_time > 5000)) {
		    Servo_SetAngle(0);
		    door_open = 0;

		    HAL_GPIO_WritePin(GPIOC, GPIO_PIN_14, GPIO_PIN_RESET);

		    osMutexWait(spiMutex, osWaitForever);
		    TFT_FillScreen(BLACK);
		    TFT_DrawMenu();
		    // Nếu đang ở chế độ quẹt thẻ thì hiện lại thông báo
		    if (current_action == ACTION_SCAN) {
		        TFT_DrawString(10, 170, "VUI LÒNG QUẸT THẺ!", &Font_11x16_times, CYAN, BLACK);
		    }
		    osMutexRelease(spiMutex);
		}
		osDelay(100);
	}
}

void Send_Event(char *event, char *method, uint8_t *uid) {
	char msg[160];

	if (uid != NULL) {
		sprintf(msg,
				"{\"event\":\"%s\",\"method\":\"%s\",\"uid\":\"%02X %02X %02X %02X\",\"card_count\":%d}\n",
				event, method, uid[0], uid[1], uid[2], uid[3], card_count);
	} else {
		sprintf(msg, "{\"event\":\"%s\",\"method\":\"%s\",\"card_count\":%d}\n",
				event, method, card_count);
	}

	HAL_UART_Transmit(&huart1, (uint8_t*) msg, strlen(msg), 100);
}

void Send_All_Cards(void) {
    char msg[256];
    char temp[12];

    sprintf(msg, "{\"event\":\"BOOT\",\"method\":\"FLASH\",\"cards\":[");

    for (int i = 0; i < card_count; i++) {
        sprintf(temp, "\"%02X%02X%02X%02X\"",
                card_list[i][0],
                card_list[i][1],
                card_list[i][2],
                card_list[i][3]);

        strcat(msg, temp);

        if (i < card_count - 1)
            strcat(msg, ",");
    }

    strcat(msg, "]}");
    strcat(msg, "\n");

    HAL_UART_Transmit(&huart1, (uint8_t*) msg, strlen(msg), 100);
}
/* USER CODE END 4 */

void StartDefaultTask(void const * argument)
{
	for (;;) {
		osDelay(1);
	}
}

void HAL_TIM_PeriodElapsedCallback(TIM_HandleTypeDef *htim)
{
  if (htim->Instance == TIM4)
  {
    HAL_IncTick();
  }
}

void Error_Handler(void)
{
	__disable_irq();
	while (1) {
	}
}
